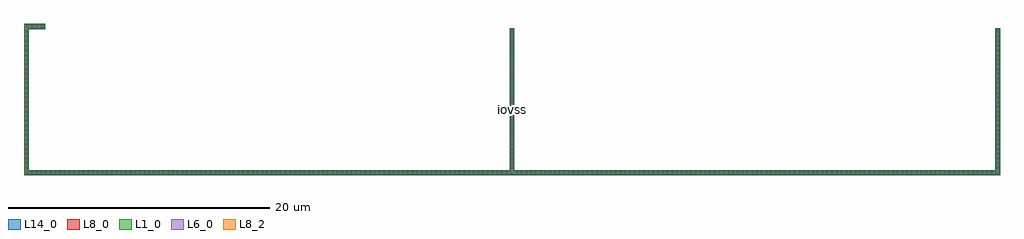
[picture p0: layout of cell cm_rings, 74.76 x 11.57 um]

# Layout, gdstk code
import gdstk
lib = gdstk.Library(unit=1e-6, precision=1e-09)
def R(c, l, rs):  # rectangles x0, y0, x1, y1
    for r in rs: c.add(gdstk.rectangle(r[:2], r[2:], *l))
def A(c, l, x, y, w, h, nx, ny, dx, dy):  # array of equal rectangles
    R(c, l, [(x+i*dx, y+j*dy, x+i*dx+w, y+j*dy+h) for i in range(nx) for j in range(ny)])
L1_0 = (1, 0)
L6_0 = (6, 0)
L8_0 = (8, 0)
L8_2 = (8, 2)
L14_0 = (14, 0)

cm_rings = lib.new_cell('cm_rings')
A(cm_rings, L1_0, 1.39, 40.55, 0.3, 10.87, 3, 1, 37.2, 0)
R(cm_rings, L1_0, [(1.39,40.25,38.89,40.55), (38.89,40.25,76.09,40.55), (1.39,51.42,2.95,51.76)])
A(cm_rings, L6_0, 1.52, 40.32, 0.16, 0.16, 104, 1, 0.36, 0)
A(cm_rings, L6_0, 39.05, 40.32, 0.16, 0.16, 103, 1, 0.36, 0)
A(cm_rings, L6_0, 1.46, 40.685, 0.16, 0.16, 3, 30, 37.2, 0.36)
A(cm_rings, L6_0, 1.55, 51.51, 0.16, 0.16, 4, 1, 0.36, 0)
A(cm_rings, L8_0, 1.39, 40.55, 0.3, 10.87, 3, 1, 37.2, 0)
R(cm_rings, L8_0, [(1.39,40.25,38.89,40.55), (38.89,40.25,76.09,40.55), (1.39,51.42,2.95,51.76)])
R(cm_rings, L8_2, [(38.59,45,38.89,45.5)])
A(cm_rings, L14_0, 1.36, 40.52, 0.36, 10.93, 3, 1, 37.2, 0)
R(cm_rings, L14_0, [(1.36,40.22,38.92,40.58), (38.86,40.22,76.12,40.58), (1.36,51.39,2.98,51.79)])
cm_rings.add(gdstk.Label('iovss', (38.74,45.25), layer=8, texttype=25))

lib.write_gds('cm_rings.gds')
